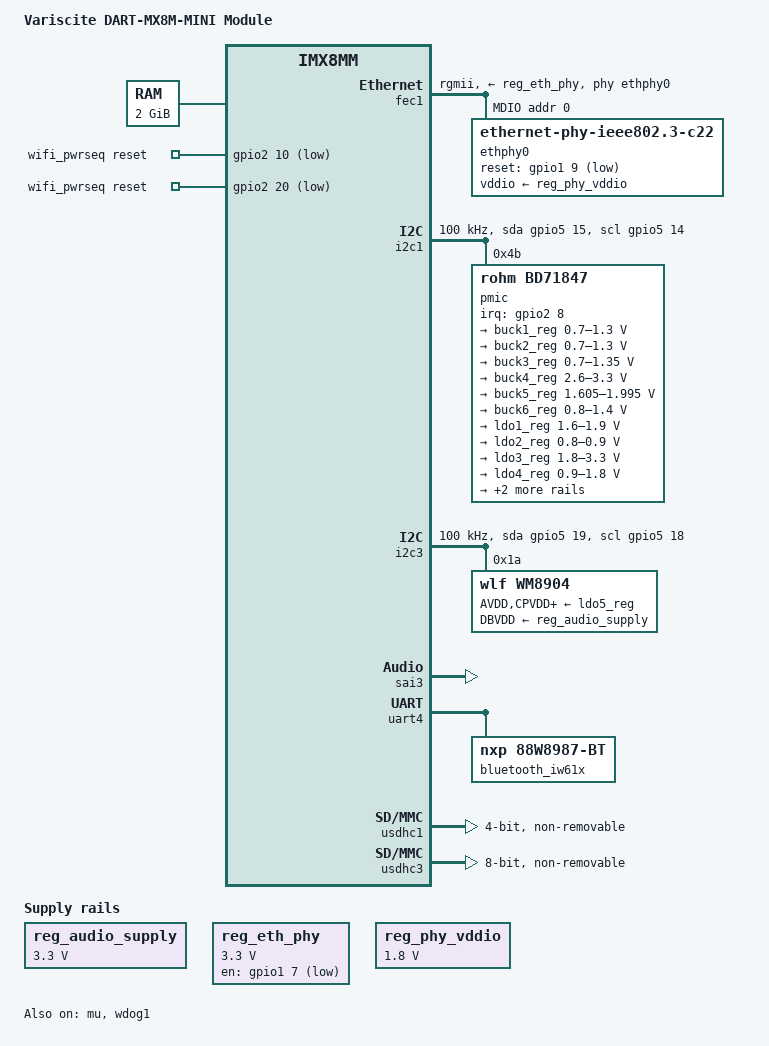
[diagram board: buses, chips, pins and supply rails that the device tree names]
// SPDX-License-Identifier: (GPL-2.0+ OR MIT)
/*
 * Common dtsi for Variscite DART-MX8M-MINI
 *
 * Link: https://variscite.com/system-on-module-som/i-mx-8/i-mx-8m-mini/dart-mx8m-mini/
 *
 * Copyright (C) 2026 Variscite Ltd. - https://www.variscite.com/
 *
 */

/dts-v1/;

#include "imx8mm.dtsi"

/ {
	model = "Variscite DART-MX8M-MINI Module";
	compatible = "variscite,var-dart-mx8mm", "fsl,imx8mm";

	memory@40000000 {
		device_type = "memory";
		reg = <0x0 0x40000000 0 0x80000000>;
	};

	reg_audio_supply: regulator-3p3v {
		compatible = "regulator-fixed";
		regulator-name = "wm8904-supply";
		regulator-min-microvolt = <3300000>;
		regulator-max-microvolt = <3300000>;
		regulator-always-on;
	};

	reg_eth_phy: regulator-eth-phy {
		compatible = "regulator-fixed";
		pinctrl-names = "default";
		pinctrl-0 = <&pinctrl_reg_eth_phy>;
		regulator-name = "eth_phy_pwr";
		regulator-min-microvolt = <3300000>;
		regulator-max-microvolt = <3300000>;
		regulator-enable-ramp-delay = <20000>;
		gpio = <&gpio1 7 GPIO_ACTIVE_LOW>;
	};

	reg_phy_vddio: regulator-phy-vddio {
		compatible = "regulator-fixed";
		regulator-name = "vddio-1v8";
		regulator-min-microvolt = <1800000>;
		regulator-max-microvolt = <1800000>;
	};

	sound-wm8904 {
		compatible = "simple-audio-card";
		simple-audio-card,bitclock-master = <&codec_dai>;
		simple-audio-card,format = "i2s";
		simple-audio-card,frame-master = <&codec_dai>;
		simple-audio-card,mclk-fs = <256>;
		simple-audio-card,name = "wm8904-audio";
		simple-audio-card,routing =
			"Headphone Jack", "HPOUTL",
			"Headphone Jack", "HPOUTR",
			"IN2L", "Line In Jack",
			"IN2R", "Line In Jack",
			"IN1L", "Microphone Jack",
			"IN1R", "Microphone Jack";
		simple-audio-card,widgets =
			"Microphone", "Microphone Jack",
			"Headphone", "Headphone Jack",
			"Line", "Line In Jack";

		codec_dai: simple-audio-card,codec {
			sound-dai = <&wm8904>;
		};

		simple-audio-card,cpu {
			sound-dai = <&sai3>;
		};
	};

	wifi_pwrseq: wifi-pwrseq {
		compatible = "mmc-pwrseq-simple";
		post-power-on-delay-ms = <100>;
		power-off-delay-us = <10000>;
		reset-gpios = <&gpio2 10 GPIO_ACTIVE_LOW>, /* WIFI_RESET */
			      <&gpio2 20 GPIO_ACTIVE_LOW>; /* WIFI_PWR_EN */
	};
};

&A53_0 {
	cpu-supply = <&buck2_reg>;
};

&A53_1 {
	cpu-supply = <&buck2_reg>;
};

&A53_2 {
	cpu-supply = <&buck2_reg>;
};

&A53_3 {
	cpu-supply = <&buck2_reg>;
};

&fec1 {
	pinctrl-names = "default", "sleep";
	pinctrl-0 = <&pinctrl_fec1>;
	pinctrl-1 = <&pinctrl_fec1_sleep>;
	/*
	 * The required RGMII TX and RX 2ns delays are implemented directly
	 * in hardware via passive delay elements on the SOM PCB.
	 * No delay configuration is needed in software via PHY driver.
	 */
	phy-mode = "rgmii";
	phy-handle = <&ethphy0>;
	phy-supply = <&reg_eth_phy>;
	status = "okay";

	mdio {
		#address-cells = <1>;
		#size-cells = <0>;

		ethphy0: ethernet-phy@0 {
			compatible = "ethernet-phy-ieee802.3-c22";
			reg = <0>;
			reset-gpios = <&gpio1 9 GPIO_ACTIVE_LOW>;
			reset-assert-us = <10000>;
			reset-deassert-us = <100000>;
			vddio-supply = <&reg_phy_vddio>;
		};
	};
};

&i2c1 {
	clock-frequency = <100000>;
	pinctrl-names = "default", "gpio";
	pinctrl-0 = <&pinctrl_i2c1>;
	pinctrl-1 = <&pinctrl_i2c1_gpio>;
	scl-gpios = <&gpio5 14 (GPIO_ACTIVE_HIGH | GPIO_OPEN_DRAIN)>;
	sda-gpios = <&gpio5 15 (GPIO_ACTIVE_HIGH | GPIO_OPEN_DRAIN)>;
	status = "okay";

	pmic@4b {
		compatible = "rohm,bd71847";
		reg = <0x4b>;
		pinctrl-names = "default";
		pinctrl-0 = <&pinctrl_pmic>;
		interrupt-parent = <&gpio2>;
		interrupts = <8 IRQ_TYPE_LEVEL_LOW>;
		rohm,reset-snvs-powered;

		regulators {
			buck1_reg: BUCK1 {
				regulator-name = "buck1";
				regulator-min-microvolt = <700000>;
				regulator-max-microvolt = <1300000>;
				regulator-boot-on;
				regulator-always-on;
				regulator-ramp-delay = <1250>;
			};

			buck2_reg: BUCK2 {
				regulator-name = "buck2";
				regulator-min-microvolt = <700000>;
				regulator-max-microvolt = <1300000>;
				regulator-boot-on;
				regulator-always-on;
				regulator-ramp-delay = <1250>;
				rohm,dvs-run-voltage = <1000000>;
				rohm,dvs-idle-voltage = <900000>;
			};

			buck3_reg: BUCK3 {
				// BUCK5 in datasheet
				regulator-name = "buck3";
				regulator-min-microvolt = <700000>;
				regulator-max-microvolt = <1350000>;
				regulator-boot-on;
				regulator-always-on;
			};

			buck4_reg: BUCK4 {
				// BUCK6 in datasheet
				regulator-name = "buck4";
				regulator-min-microvolt = <2600000>;
				regulator-max-microvolt = <3300000>;
				regulator-boot-on;
				regulator-always-on;
			};

			buck5_reg: BUCK5 {
				// BUCK7 in datasheet
				regulator-name = "buck5";
				regulator-min-microvolt = <1605000>;
				regulator-max-microvolt = <1995000>;
				regulator-boot-on;
				regulator-always-on;
			};

			buck6_reg: BUCK6 {
				// BUCK8 in datasheet
				regulator-name = "buck6";
				regulator-min-microvolt = <800000>;
				regulator-max-microvolt = <1400000>;
				regulator-boot-on;
				regulator-always-on;
			};

			ldo1_reg: LDO1 {
				regulator-name = "ldo1";
				regulator-min-microvolt = <1600000>;
				regulator-max-microvolt = <1900000>;
				regulator-boot-on;
				regulator-always-on;
			};

			ldo2_reg: LDO2 {
				regulator-name = "ldo2";
				regulator-min-microvolt = <800000>;
				regulator-max-microvolt = <900000>;
				regulator-boot-on;
				regulator-always-on;
			};

			ldo3_reg: LDO3 {
				regulator-name = "ldo3";
				regulator-min-microvolt = <1800000>;
				regulator-max-microvolt = <3300000>;
				regulator-boot-on;
				regulator-always-on;
			};

			ldo4_reg: LDO4 {
				regulator-name = "ldo4";
				regulator-min-microvolt = <900000>;
				regulator-max-microvolt = <1800000>;
				regulator-always-on;
			};

			ldo5_reg: LDO5 {
				regulator-name = "ldo5";
				regulator-min-microvolt = <1800000>;
				regulator-max-microvolt = <1800000>;
				regulator-always-on;
			};

			ldo6_reg: LDO6 {
				regulator-name = "ldo6";
				regulator-min-microvolt = <900000>;
				regulator-max-microvolt = <1800000>;
				regulator-boot-on;
				regulator-always-on;
			};
		};
	};
};

&i2c3 {
	clock-frequency = <100000>;
	pinctrl-names = "default", "gpio";
	pinctrl-0 = <&pinctrl_i2c3>;
	pinctrl-1 = <&pinctrl_i2c3_gpio>;
	scl-gpios = <&gpio5 18 (GPIO_ACTIVE_HIGH | GPIO_OPEN_DRAIN)>;
	sda-gpios = <&gpio5 19 (GPIO_ACTIVE_HIGH | GPIO_OPEN_DRAIN)>;
	status = "okay";

	wm8904: audio-codec@1a {
		compatible = "wlf,wm8904";
		reg = <0x1a>;
		#sound-dai-cells = <0>;
		clocks = <&clk IMX8MM_CLK_SAI3_ROOT>;
		clock-names = "mclk";
		AVDD-supply = <&ldo5_reg>;
		CPVDD-supply = <&ldo5_reg>;
		DBVDD-supply = <&reg_audio_supply>;
		DCVDD-supply = <&ldo5_reg>;
		MICVDD-supply = <&ldo5_reg>;
		wlf,drc-cfg-names = "default", "peaklimiter", "tradition",
				    "soft", "music";
		/*
		 * Config registers per name, respectively:
		 * KNEE_IP = 0,   KNEE_OP = 0,     HI_COMP = 1,   LO_COMP = 1
		 * KNEE_IP = -24, KNEE_OP = -6,    HI_COMP = 1/4, LO_COMP = 1
		 * KNEE_IP = -42, KNEE_OP = -3,    HI_COMP = 0,   LO_COMP = 1
		 * KNEE_IP = -45, KNEE_OP = -9,    HI_COMP = 1/8, LO_COMP = 1
		 * KNEE_IP = -30, KNEE_OP = -10.5, HI_COMP = 1/4, LO_COMP = 1
		 */
		wlf,drc-cfg-regs = /bits/ 16 <0x01af 0x3248 0x0000 0x0000>,
				   /bits/ 16 <0x04af 0x324b 0x0010 0x0408>,
				   /bits/ 16 <0x04af 0x324b 0x0028 0x0704>,
				   /bits/ 16 <0x04af 0x324b 0x0018 0x078c>,
				   /bits/ 16 <0x04af 0x324b 0x0010 0x050e>;
		/* GPIO1 = DMIC_CLK, don't touch others */
		wlf,gpio-cfg = <0x0018>, <0xffff>, <0xffff>, <0xffff>;
	};
};

&mu {
	status = "okay";
};

&sai3 {
	#sound-dai-cells = <0>;
	pinctrl-names = "default";
	pinctrl-0 = <&pinctrl_sai3>;
	assigned-clocks = <&clk IMX8MM_CLK_SAI3>;
	assigned-clock-parents = <&clk IMX8MM_AUDIO_PLL1_OUT>;
	assigned-clock-rates = <1536000>;
	fsl,sai-mclk-direction-output;
	status = "okay";
};

/* BT module */
&uart4 {
	pinctrl-names = "default";
	pinctrl-0 = <&pinctrl_uart4>, <&pinctrl_bt>;
	assigned-clocks = <&clk IMX8MM_CLK_UART4>;
	assigned-clock-parents = <&clk IMX8MM_SYS_PLL1_80M>;
	uart-has-rtscts;
	status = "okay";

	bluetooth_iw61x: bluetooth {
		compatible = "nxp,88w8987-bt";
	};
};

/* WIFI */
&usdhc1 {
	pinctrl-names = "default", "state_100mhz", "state_200mhz";
	pinctrl-0 = <&pinctrl_usdhc1>, <&pinctrl_wifi>;
	pinctrl-1 = <&pinctrl_usdhc1_100mhz>, <&pinctrl_wifi>;
	pinctrl-2 = <&pinctrl_usdhc1_200mhz>, <&pinctrl_wifi>;
	bus-width = <4>;
	keep-power-in-suspend;
	mmc-pwrseq = <&wifi_pwrseq>;
	non-removable;
	status = "okay";
};

/* eMMC */
&usdhc3 {
	pinctrl-names = "default", "state_100mhz", "state_200mhz";
	pinctrl-0 = <&pinctrl_usdhc3>;
	pinctrl-1 = <&pinctrl_usdhc3_100mhz>;
	pinctrl-2 = <&pinctrl_usdhc3_200mhz>;
	bus-width = <8>;
	non-removable;
	status = "okay";
};

&wdog1 {
	pinctrl-names = "default";
	pinctrl-0 = <&pinctrl_wdog>;
	fsl,ext-reset-output;
	status = "okay";
};

&iomuxc {
	pinctrl_bt: btgrp {
		fsl,pins = <
			MX8MM_IOMUXC_SD1_DATA4_GPIO2_IO6		0xc1
			MX8MM_IOMUXC_SPDIF_EXT_CLK_GPIO5_IO5		0xc1
		>;
	};

	pinctrl_fec1: fec1grp {
		fsl,pins = <
			MX8MM_IOMUXC_ENET_MDC_ENET1_MDC			0x3
			MX8MM_IOMUXC_ENET_MDIO_ENET1_MDIO		0x3
			MX8MM_IOMUXC_ENET_TD3_ENET1_RGMII_TD3		0x1f
			MX8MM_IOMUXC_ENET_TD2_ENET1_RGMII_TD2		0x1f
			MX8MM_IOMUXC_ENET_TD1_ENET1_RGMII_TD1		0x1f
			MX8MM_IOMUXC_ENET_TD0_ENET1_RGMII_TD0		0x1f
			MX8MM_IOMUXC_ENET_RD3_ENET1_RGMII_RD3		0x91
			MX8MM_IOMUXC_ENET_RD2_ENET1_RGMII_RD2		0x91
			MX8MM_IOMUXC_ENET_RD1_ENET1_RGMII_RD1		0x91
			MX8MM_IOMUXC_ENET_RD0_ENET1_RGMII_RD0		0x91
			MX8MM_IOMUXC_ENET_TXC_ENET1_RGMII_TXC		0x1f
			MX8MM_IOMUXC_ENET_RXC_ENET1_RGMII_RXC		0x91
			MX8MM_IOMUXC_ENET_RX_CTL_ENET1_RGMII_RX_CTL	0x91
			MX8MM_IOMUXC_ENET_TX_CTL_ENET1_RGMII_TX_CTL	0x1f
			MX8MM_IOMUXC_GPIO1_IO09_GPIO1_IO9		0x19
		>;
	};

	pinctrl_fec1_sleep: fec1sleepgrp {
		fsl,pins = <
			MX8MM_IOMUXC_ENET_MDC_GPIO1_IO16		0x120
			MX8MM_IOMUXC_ENET_MDIO_GPIO1_IO17		0x120
			MX8MM_IOMUXC_ENET_TD3_GPIO1_IO18		0x120
			MX8MM_IOMUXC_ENET_TD2_GPIO1_IO19		0x120
			MX8MM_IOMUXC_ENET_TD1_GPIO1_IO20		0x120
			MX8MM_IOMUXC_ENET_TD0_GPIO1_IO21		0x120
			MX8MM_IOMUXC_ENET_RD3_GPIO1_IO29		0x120
			MX8MM_IOMUXC_ENET_RD2_GPIO1_IO28		0x120
			MX8MM_IOMUXC_ENET_RD1_GPIO1_IO27		0x120
			MX8MM_IOMUXC_ENET_RD0_GPIO1_IO26		0x120
			MX8MM_IOMUXC_ENET_TXC_GPIO1_IO23		0x120
			MX8MM_IOMUXC_ENET_RXC_GPIO1_IO25		0x120
			MX8MM_IOMUXC_ENET_RX_CTL_GPIO1_IO24		0x120
			MX8MM_IOMUXC_ENET_TX_CTL_GPIO1_IO22		0x120
			MX8MM_IOMUXC_GPIO1_IO09_GPIO1_IO9		0x100
		>;
	};

	pinctrl_i2c1: i2c1grp {
		fsl,pins = <
			MX8MM_IOMUXC_I2C1_SCL_I2C1_SCL			0x400001c3
			MX8MM_IOMUXC_I2C1_SDA_I2C1_SDA			0x400001c3
		>;
	};

	pinctrl_i2c1_gpio: i2c1-gpiogrp {
		fsl,pins = <
			MX8MM_IOMUXC_I2C1_SCL_GPIO5_IO14		0x400001c3
			MX8MM_IOMUXC_I2C1_SDA_GPIO5_IO15		0x400001c3
		>;
	};

	pinctrl_i2c3: i2c3grp {
		fsl,pins = <
			MX8MM_IOMUXC_I2C3_SCL_I2C3_SCL			0x400001c3
			MX8MM_IOMUXC_I2C3_SDA_I2C3_SDA			0x400001c3
		>;
	};

	pinctrl_i2c3_gpio: i2c3-gpiogrp {
		fsl,pins = <
			MX8MM_IOMUXC_I2C3_SCL_GPIO5_IO18		0x400001c3
			MX8MM_IOMUXC_I2C3_SDA_GPIO5_IO19		0x400001c3
		>;
	};

	pinctrl_pmic: pmicgrp {
		fsl,pins = <
			MX8MM_IOMUXC_SD1_DATA6_GPIO2_IO8		0x140
		>;
	};

	pinctrl_reg_eth_phy: regeth-phygrp {
		fsl,pins = <
			MX8MM_IOMUXC_GPIO1_IO07_GPIO1_IO7		0x41
		>;
	};

	pinctrl_sai3: sai3grp {
		fsl,pins = <
			MX8MM_IOMUXC_SAI3_RXFS_SAI3_RX_SYNC		0xd6
			MX8MM_IOMUXC_SAI3_RXC_SAI3_RX_BCLK		0xd6
			MX8MM_IOMUXC_SAI3_RXD_SAI3_RX_DATA0		0xd6
			MX8MM_IOMUXC_SAI3_TXFS_SAI3_TX_SYNC		0xd6
			MX8MM_IOMUXC_SAI3_TXC_SAI3_TX_BCLK		0xd6
			MX8MM_IOMUXC_SAI3_TXD_SAI3_TX_DATA0		0xd6
			MX8MM_IOMUXC_SAI3_MCLK_SAI3_MCLK		0xd6
		>;
	};

	pinctrl_uart4: uart4grp {
		fsl,pins = <
			MX8MM_IOMUXC_ECSPI2_SCLK_UART4_DCE_RX		0x140
			MX8MM_IOMUXC_ECSPI2_MOSI_UART4_DCE_TX		0x140
			MX8MM_IOMUXC_ECSPI2_SS0_UART4_DCE_RTS_B		0x140
			MX8MM_IOMUXC_ECSPI2_MISO_UART4_DCE_CTS_B	0x140
		>;
	};

	pinctrl_usdhc1: usdhc1grp {
		fsl,pins = <
			MX8MM_IOMUXC_SD1_CLK_USDHC1_CLK			0x190
			MX8MM_IOMUXC_SD1_CMD_USDHC1_CMD			0x1d0
			MX8MM_IOMUXC_SD1_DATA0_USDHC1_DATA0		0x1d0
			MX8MM_IOMUXC_SD1_DATA1_USDHC1_DATA1		0x1d0
			MX8MM_IOMUXC_SD1_DATA2_USDHC1_DATA2		0x1d0
			MX8MM_IOMUXC_SD1_DATA3_USDHC1_DATA3		0x1d0
		>;
	};

	pinctrl_usdhc1_100mhz: usdhc1-100mhzgrp {
		fsl,pins = <
			MX8MM_IOMUXC_SD1_CLK_USDHC1_CLK			0x194
			MX8MM_IOMUXC_SD1_CMD_USDHC1_CMD			0x1d4
			MX8MM_IOMUXC_SD1_DATA0_USDHC1_DATA0		0x1d4
			MX8MM_IOMUXC_SD1_DATA1_USDHC1_DATA1		0x1d4
			MX8MM_IOMUXC_SD1_DATA2_USDHC1_DATA2		0x1d4
			MX8MM_IOMUXC_SD1_DATA3_USDHC1_DATA3		0x1d4
		>;
	};

	pinctrl_usdhc1_200mhz: usdhc1-200mhzgrp {
		fsl,pins = <
			MX8MM_IOMUXC_SD1_CLK_USDHC1_CLK			0x196
			MX8MM_IOMUXC_SD1_CMD_USDHC1_CMD			0x1d6
			MX8MM_IOMUXC_SD1_DATA0_USDHC1_DATA0		0x1d6
			MX8MM_IOMUXC_SD1_DATA1_USDHC1_DATA1		0x1d6
			MX8MM_IOMUXC_SD1_DATA2_USDHC1_DATA2		0x1d6
			MX8MM_IOMUXC_SD1_DATA3_USDHC1_DATA3		0x1d6
		>;
	};

	pinctrl_usdhc3: usdhc3grp {
		fsl,pins = <
			MX8MM_IOMUXC_NAND_WE_B_USDHC3_CLK		0x190
			MX8MM_IOMUXC_NAND_WP_B_USDHC3_CMD		0x1d0
			MX8MM_IOMUXC_NAND_DATA04_USDHC3_DATA0		0x1d0
			MX8MM_IOMUXC_NAND_DATA05_USDHC3_DATA1		0x1d0
			MX8MM_IOMUXC_NAND_DATA06_USDHC3_DATA2		0x1d0
			MX8MM_IOMUXC_NAND_DATA07_USDHC3_DATA3		0x1d0
			MX8MM_IOMUXC_NAND_RE_B_USDHC3_DATA4		0x1d0
			MX8MM_IOMUXC_NAND_CE2_B_USDHC3_DATA5		0x1d0
			MX8MM_IOMUXC_NAND_CE3_B_USDHC3_DATA6		0x1d0
			MX8MM_IOMUXC_NAND_CLE_USDHC3_DATA7		0x1d0
			MX8MM_IOMUXC_NAND_CE1_B_USDHC3_STROBE		0x190
		>;
	};

	pinctrl_usdhc3_100mhz: usdhc3-100mhzgrp {
		fsl,pins = <
			MX8MM_IOMUXC_NAND_WE_B_USDHC3_CLK		0x194
			MX8MM_IOMUXC_NAND_WP_B_USDHC3_CMD		0x1d4
			MX8MM_IOMUXC_NAND_DATA04_USDHC3_DATA0		0x1d4
			MX8MM_IOMUXC_NAND_DATA05_USDHC3_DATA1		0x1d4
			MX8MM_IOMUXC_NAND_DATA06_USDHC3_DATA2		0x1d4
			MX8MM_IOMUXC_NAND_DATA07_USDHC3_DATA3		0x1d4
			MX8MM_IOMUXC_NAND_RE_B_USDHC3_DATA4		0x1d4
			MX8MM_IOMUXC_NAND_CE2_B_USDHC3_DATA5		0x1d4
			MX8MM_IOMUXC_NAND_CE3_B_USDHC3_DATA6		0x1d4
			MX8MM_IOMUXC_NAND_CLE_USDHC3_DATA7		0x1d4
			MX8MM_IOMUXC_NAND_CE1_B_USDHC3_STROBE		0x194
		>;
	};

	pinctrl_usdhc3_200mhz: usdhc3-200mhzgrp {
		fsl,pins = <
			MX8MM_IOMUXC_NAND_WE_B_USDHC3_CLK		0x196
			MX8MM_IOMUXC_NAND_WP_B_USDHC3_CMD		0x1d6
			MX8MM_IOMUXC_NAND_DATA04_USDHC3_DATA0		0x1d6
			MX8MM_IOMUXC_NAND_DATA05_USDHC3_DATA1		0x1d6
			MX8MM_IOMUXC_NAND_DATA06_USDHC3_DATA2		0x1d6
			MX8MM_IOMUXC_NAND_DATA07_USDHC3_DATA3		0x1d6
			MX8MM_IOMUXC_NAND_RE_B_USDHC3_DATA4		0x1d6
			MX8MM_IOMUXC_NAND_CE2_B_USDHC3_DATA5		0x1d6
			MX8MM_IOMUXC_NAND_CE3_B_USDHC3_DATA6		0x1d6
			MX8MM_IOMUXC_NAND_CLE_USDHC3_DATA7		0x1d6
			MX8MM_IOMUXC_NAND_CE1_B_USDHC3_STROBE		0x196
		>;
	};

	pinctrl_wdog: wdoggrp {
		fsl,pins = <
			MX8MM_IOMUXC_GPIO1_IO02_WDOG1_WDOG_B		0xc6
		>;
	};

	pinctrl_wifi: wifigrp {
		fsl,pins = <
			MX8MM_IOMUXC_SD2_WP_GPIO2_IO20			0x140
			MX8MM_IOMUXC_SD1_RESET_B_GPIO2_IO10		0xc1
		>;
	};
};
